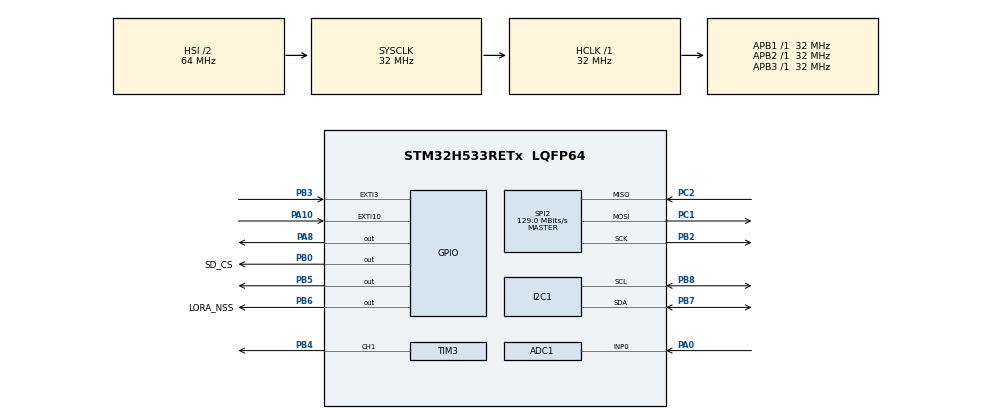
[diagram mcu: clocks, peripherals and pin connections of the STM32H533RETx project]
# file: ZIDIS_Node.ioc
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ADC1.Channel-0\#ChannelRegularConversion=ADC_CHANNEL_0
ADC1.Channel-1\#ChannelRegularConversion=ADC_CHANNEL_0
ADC1.MonitoredBy-0\#ChannelRegularConversion=__NULL
ADC1.MonitoredBy-1\#ChannelRegularConversion=__NULL
ADC1.NbrOfConversion=2
ADC1.NbrOfConversionFlag=1
ADC1.OffsetNumber-0\#ChannelRegularConversion=ADC_OFFSET_NONE
ADC1.OffsetNumber-1\#ChannelRegularConversion=ADC_OFFSET_NONE
ADC1.Rank-0\#ChannelRegularConversion=1
ADC1.Rank-1\#ChannelRegularConversion=2
ADC1.SamplingTime-0\#ChannelRegularConversion=ADC_SAMPLETIME_247CYCLES_5
ADC1.SamplingTime-1\#ChannelRegularConversion=ADC_SAMPLETIME_247CYCLES_5
ADC1.master=1
BOOTPATH.BootPathName=LEGACY
BOOTPATH.UserSelectedBootPath=LEGACY
CORTEX_M33_NS.Number-Cortex_Memory_Protection_Unit_Region0_OTP_RO_AREAS_Settings=MPU_REGION_NUMBER0
CORTEX_M33_NS.default_mode_Activation=1
CORTEX_M33_NS.userName=CORTEX_M33
I2C1.Timing=0x00707CBB
Mcu.Family=STM32H5
Mcu.Name=STM32H533RETx
Mcu.Package=LQFP64
NUCLEO-H533RE.BUTTON=1
NUCLEO-H533RE.Bsp_Common_DEMO=true
NUCLEO-H533RE.LD4=true
NUCLEO-H533RE.VCP=true
NVIC.EXTI10_IRQn=true\:0\:0\:false\:false\:true\:true\:true\:true
NVIC.EXTI3_IRQn=true\:0\:0\:false\:false\:true\:true\:true\:true
NVIC.PriorityGroup=NVIC_PRIORITYGROUP_4
NVIC.TIM6_IRQn=true\:15\:0\:false\:false\:true\:false\:true\:true
NVIC.TimeBase=TIM6_IRQn
NVIC.TimeBaseIP=TIM6
PA0.Signal=ADCx_INP0
PA1.Signal=ADCx_INP1
PA10.Signal=GPXTI10
PA13(JTMS/SWDIO).GPIO_Label=SWDIO
PA13(JTMS/SWDIO).Signal=DEBUG_JTMS-SWDIO
PA14(JTCK/SWCLK).GPIO_Label=SWCLK
PA14(JTCK/SWCLK).Signal=DEBUG_JTCK-SWCLK
PA15(JTDI).GPIO_Label=JTDI
PA15(JTDI).Signal=DEBUG_JTDI
PA2.Signal=USART2_TX
PA3.Signal=USART2_RX
PA8.Signal=GPIO_Output
PB0.GPIO_Label=SD_CS
PB0.Signal=GPIO_Output
PB2.Mode=Full_Duplex_Master
PB2.Signal=SPI2_SCK
PB3(JTDO/TRACESWO).Signal=GPXTI3
PB4(NJTRST).Signal=S_TIM3_CH1
PB5.Signal=GPIO_Output
PB6.GPIO_Label=LORA_NSS
PB6.Signal=GPIO_Output
PB7.Mode=I2C
PB7.Signal=I2C1_SDA
PB8.Mode=I2C
PB8.Signal=I2C1_SCL
PC1.Mode=Full_Duplex_Master
PC1.Signal=SPI2_MOSI
PC2.Mode=Full_Duplex_Master
PC2.Signal=SPI2_MISO
ProjectManager.HeapSize=0x200
ProjectManager.StackSize=0x400
ProjectManager.TargetToolchain=STM32CubeIDE
RCC.ADCFreq_Value=32000000
RCC.AHBFreq_Value=32000000
RCC.APB1Freq_Value=32000000
RCC.APB1TimFreq_Value=32000000
RCC.APB2Freq_Value=32000000
RCC.APB2TimFreq_Value=32000000
RCC.APB3Freq_Value=32000000
RCC.CSI_VALUE=4000000
RCC.CortexFreq_Value=32000000
RCC.EPOD_VALUE=4000000
RCC.HCLKFreq_Value=32000000
RCC.HSE_VALUE=25000000
RCC.HSI48_VALUE=48000000
RCC.HSI_VALUE=64000000
RCC.LSE_VALUE=32768
RCC.LSIRC_VALUE=32000
RCC.PLL2FRACN=0
RCC.PLL3FRACN=0
RCC.PLLFRACN=0
RCC.SYSCLKFreq_VALUE=32000000
RCC.USBFreq_Value=48000000
RCC.VCOOutputFreq_Value=516000000
SH.ADCx_INP0.0=ADC1_INP0,IN0-Single-Ended
SH.ADCx_INP1.0=ADC1_INP1
SH.S_TIM3_CH1.0=TIM3_CH1,PWM Generation1 CH1
SPI2.CalculateBaudRate=129.0 MBits/s
SPI2.Direction=SPI_DIRECTION_2LINES
SPI2.Mode=SPI_MODE_MASTER
SPI2.VirtualType=VM_MASTER
TIM3.Channel-PWM\ Generation1\ CH1=TIM_CHANNEL_1
TIM3.PeriodNoDither=999
TIM3.Prescaler=249
VP_BOOTPATH_VS_BOOTPATH.Mode=BP_Activate
VP_CORTEX_M33_NS_VS_Hclk.Mode=Hclk_Mode
VP_ICACHE_VS_ICACHE.Mode=DirectMappedCache
VP_MEMORYMAP_VS_MEMORYMAP.Mode=CurAppReg
VP_NUCLEO-H533RE_VS_BSP_COMMON.Mode=COMMON
VP_PWR_VS_LPOM.Mode=PowerOptimisation
VP_PWR_VS_SECSignals.Mode=Security/Privilege
VP_SYS_VS_tim6.Mode=TIM6
VP_TIM3_VS_ClockSourceINT.Mode=Internal
board=NUCLEO-H533RE

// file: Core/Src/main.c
/* USER CODE BEGIN Header */
/**
  ******************************************************************************
  * @file           : main.c
  * @brief          : Main program body
  ******************************************************************************
  * @attention
  *
  * Copyright (c) 2026 STMicroelectronics.
  * All rights reserved.
  *
  * This software is licensed under terms that can be found in the LICENSE file
  * in the root directory of this software component.
  * If no LICENSE file comes with this software, it is provided AS-IS.
  *
  ******************************************************************************
  */
/* USER CODE END Header */
#include "main.h"
#include <stdio.h> // Added for printf

/* USER CODE BEGIN Includes */
#include <tk/tkernel.h>
#include "zidis_core/config.h"
#include "zidis_core/dsp.h"
#include "zidis_core/mlp.h"
#include "zidis_core/protocol.h"
#include <stdlib.h>
#include <math.h>
#include <tm/tmonitor.h>
/* USER CODE END Includes */

COM_InitTypeDef BspCOMInit;
__IO uint32_t BspButtonState = BUTTON_RELEASED;
ADC_HandleTypeDef hadc1;

I2C_HandleTypeDef hi2c1;

SPI_HandleTypeDef hspi2;

TIM_HandleTypeDef htim3;

/* USER CODE BEGIN PV */
// Variables to store your sensor readings
uint32_t soil_moisture = 0;
uint32_t water_level = 0;
/* USER CODE END PV */

void SystemClock_Config(void);
static void MPU_Config(void);
static void MX_GPIO_Init(void);
static void MX_ADC1_Init(void);
static void MX_ICACHE_Init(void);
static void MX_TIM3_Init(void);
static void MX_I2C1_Init(void);
static void MX_SPI2_Init(void);
/* USER CODE BEGIN PFP */
void UART_Print(const char* str);
/* USER CODE END PFP */

int main(void)
{

  /* MCU Configuration--------------------------------------------------------*/

  /* MPU Configuration--------------------------------------------------------*/
  MPU_Config();

  /* Reset of all peripherals, Initializes the Flash interface and the Systick. */
  HAL_Init();

  /* Configure the system clock */
  SystemClock_Config();

  /* Initialize all configured peripherals */
  MX_GPIO_Init();
  MX_ADC1_Init();
  MX_ICACHE_Init();
  MX_TIM3_Init();
  MX_I2C1_Init();
  MX_SPI2_Init();

  /* USER CODE BEGIN 2 */

  // 1. Start the PWM Siren on TIM3 Channel 1
  HAL_TIM_PWM_Start(&htim3, TIM_CHANNEL_1);

  // 2. Set the Siren volume/duty cycle to 50% (500 out of 1000 period)
  // Note: Set this to 0 if you don't want the siren making noise while testing!
  __HAL_TIM_SET_COMPARE(&htim3, TIM_CHANNEL_1, 500);

  /* USER CODE END 2 */

  /* Initialize leds */
  BSP_LED_Init(LED_GREEN);

  /* Initialize USER push-button, will be used to trigger an interrupt each time it's pressed.*/
  BSP_PB_Init(BUTTON_USER, BUTTON_MODE_EXTI);

  /* Initialize COM1 port (115200, 8 bits (7-bit data + 1 stop bit), no parity */
  BspCOMInit.BaudRate   = 115200;
  BspCOMInit.WordLength = COM_WORDLENGTH_8B;
  BspCOMInit.StopBits   = COM_STOPBITS_1;
  BspCOMInit.Parity     = COM_PARITY_NONE;
  BspCOMInit.HwFlowCtl  = COM_HWCONTROL_NONE;
  if (BSP_COM_Init(COM1, &BspCOMInit) != BSP_ERROR_NONE)
  {
    Error_Handler();
  }

  /* USER CODE BEGIN BSP */

  /* -- Sample board code to send message over COM1 port ---- */
  UART_Print("\r\n=======================================\r\n");
  UART_Print(" ZIDIS Earthquake Node - System Booting \r\n");
  UART_Print("=======================================\r\n");

  /* -- Sample board code to switch on leds ---- */
  BSP_LED_Off(LED_GREEN);

  // --- BOOT uT-KERNEL ---
  extern void knl_start_mtkernel(void);
  knl_start_mtkernel(); // Jump into the RTOS (Never returns!)

  /* USER CODE END BSP */

  /* Infinite loop */
  while (1)
  {

  }
}

void SystemClock_Config(void)
{
  RCC_OscInitTypeDef RCC_OscInitStruct = {0};
  RCC_ClkInitTypeDef RCC_ClkInitStruct = {0};

  /** Configure the main internal regulator output voltage
  */
  __HAL_PWR_VOLTAGESCALING_CONFIG(PWR_REGULATOR_VOLTAGE_SCALE3);

  while(!__HAL_PWR_GET_FLAG(PWR_FLAG_VOSRDY)) {}

  /** Initializes the RCC Oscillators according to the specified parameters
  * in the RCC_OscInitTypeDef structure.
  */
  RCC_OscInitStruct.OscillatorType = RCC_OSCILLATORTYPE_HSI|RCC_OSCILLATORTYPE_CSI;
  RCC_OscInitStruct.HSIState = RCC_HSI_ON;
  RCC_OscInitStruct.HSIDiv = RCC_HSI_DIV2;
  RCC_OscInitStruct.HSICalibrationValue = RCC_HSICALIBRATION_DEFAULT;
  RCC_OscInitStruct.CSIState = RCC_CSI_ON;
  RCC_OscInitStruct.CSICalibrationValue = RCC_CSICALIBRATION_DEFAULT;
  RCC_OscInitStruct.PLL.PLLState = RCC_PLL_ON;
  RCC_OscInitStruct.PLL.PLLSource = RCC_PLL1_SOURCE_CSI;
  RCC_OscInitStruct.PLL.PLLM = 1;
  RCC_OscInitStruct.PLL.PLLN = 129;
  RCC_OscInitStruct.PLL.PLLP = 2;
  RCC_OscInitStruct.PLL.PLLQ = 2;
  RCC_OscInitStruct.PLL.PLLR = 2;
  RCC_OscInitStruct.PLL.PLLRGE = RCC_PLL1_VCIRANGE_2;
  RCC_OscInitStruct.PLL.PLLVCOSEL = RCC_PLL1_VCORANGE_WIDE;
  RCC_OscInitStruct.PLL.PLLFRACN = 0;
  if (HAL_RCC_OscConfig(&RCC_OscInitStruct) != HAL_OK)
  {
    Error_Handler();
  }

  /** Initializes the CPU, AHB and APB buses clocks
  */
  RCC_ClkInitStruct.ClockType = RCC_CLOCKTYPE_HCLK|RCC_CLOCKTYPE_SYSCLK
                              |RCC_CLOCKTYPE_PCLK1|RCC_CLOCKTYPE_PCLK2
                              |RCC_CLOCKTYPE_PCLK3;
  RCC_ClkInitStruct.SYSCLKSource = RCC_SYSCLKSOURCE_HSI;
  RCC_ClkInitStruct.AHBCLKDivider = RCC_SYSCLK_DIV1;
  RCC_ClkInitStruct.APB1CLKDivider = RCC_HCLK_DIV1;
  RCC_ClkInitStruct.APB2CLKDivider = RCC_HCLK_DIV1;
  RCC_ClkInitStruct.APB3CLKDivider = RCC_HCLK_DIV1;

  if (HAL_RCC_ClockConfig(&RCC_ClkInitStruct, FLASH_LATENCY_1) != HAL_OK)
  {
    Error_Handler();
  }

  /** Configure the programming delay
  */
  __HAL_FLASH_SET_PROGRAM_DELAY(FLASH_PROGRAMMING_DELAY_0);
}

static void MX_ADC1_Init(void)
{

  ADC_ChannelConfTypeDef sConfig = {0};

  /** Common config
  */
  hadc1.Instance = ADC1;
  hadc1.Init.ClockPrescaler = ADC_CLOCK_ASYNC_DIV1;
  hadc1.Init.Resolution = ADC_RESOLUTION_12B;
  hadc1.Init.DataAlign = ADC_DATAALIGN_RIGHT;
  hadc1.Init.ScanConvMode = ADC_SCAN_ENABLE;
  hadc1.Init.EOCSelection = ADC_EOC_SINGLE_CONV;
  hadc1.Init.LowPowerAutoWait = DISABLE;
  hadc1.Init.ContinuousConvMode = DISABLE;
  hadc1.Init.NbrOfConversion = 2;
  hadc1.Init.DiscontinuousConvMode = DISABLE;
  hadc1.Init.ExternalTrigConv = ADC_SOFTWARE_START;
  hadc1.Init.ExternalTrigConvEdge = ADC_EXTERNALTRIGCONVEDGE_NONE;
  hadc1.Init.DMAContinuousRequests = DISABLE;
  hadc1.Init.SamplingMode = ADC_SAMPLING_MODE_NORMAL;
  hadc1.Init.Overrun = ADC_OVR_DATA_PRESERVED;
  hadc1.Init.OversamplingMode = DISABLE;
  if (HAL_ADC_Init(&hadc1) != HAL_OK)
  {
    Error_Handler();
  }

  /** Configure Regular Channel
  */
  sConfig.Channel = ADC_CHANNEL_0;
  sConfig.Rank = ADC_REGULAR_RANK_1;
  sConfig.SamplingTime = ADC_SAMPLETIME_247CYCLES_5;
  sConfig.SingleDiff = ADC_SINGLE_ENDED;
  sConfig.OffsetNumber = ADC_OFFSET_NONE;
  sConfig.Offset = 0;
  if (HAL_ADC_ConfigChannel(&hadc1, &sConfig) != HAL_OK)
  {
    Error_Handler();
  }

  /** Configure Regular Channel
  */
  sConfig.Rank = ADC_REGULAR_RANK_2;
  if (HAL_ADC_ConfigChannel(&hadc1, &sConfig) != HAL_OK)
  {
    Error_Handler();
  }

}

static void MX_I2C1_Init(void)
{

  hi2c1.Instance = I2C1;
  hi2c1.Init.Timing = 0x00707CBB;
  hi2c1.Init.OwnAddress1 = 0;
  hi2c1.Init.AddressingMode = I2C_ADDRESSINGMODE_7BIT;
  hi2c1.Init.DualAddressMode = I2C_DUALADDRESS_DISABLE;
  hi2c1.Init.OwnAddress2 = 0;
  hi2c1.Init.OwnAddress2Masks = I2C_OA2_NOMASK;
  hi2c1.Init.GeneralCallMode = I2C_GENERALCALL_DISABLE;
  hi2c1.Init.NoStretchMode = I2C_NOSTRETCH_DISABLE;
  if (HAL_I2C_Init(&hi2c1) != HAL_OK)
  {
    Error_Handler();
  }

  /** Configure Analogue filter
  */
  if (HAL_I2CEx_ConfigAnalogFilter(&hi2c1, I2C_ANALOGFILTER_ENABLE) != HAL_OK)
  {
    Error_Handler();
  }

  /** Configure Digital filter
  */
  if (HAL_I2CEx_ConfigDigitalFilter(&hi2c1, 0) != HAL_OK)
  {
    Error_Handler();
  }

}

static void MX_ICACHE_Init(void)
{

  /** Enable instruction cache in 1-way (direct mapped cache)
  */
  if (HAL_ICACHE_ConfigAssociativityMode(ICACHE_1WAY) != HAL_OK)
  {
    Error_Handler();
  }
  if (HAL_ICACHE_Enable() != HAL_OK)
  {
    Error_Handler();
  }

}

static void MX_SPI2_Init(void)
{

  /* SPI2 parameter configuration*/
  hspi2.Instance = SPI2;
  hspi2.Init.Mode = SPI_MODE_MASTER;
  hspi2.Init.Direction = SPI_DIRECTION_2LINES;
  hspi2.Init.DataSize = SPI_DATASIZE_4BIT;
  hspi2.Init.CLKPolarity = SPI_POLARITY_LOW;
  hspi2.Init.CLKPhase = SPI_PHASE_1EDGE;
  hspi2.Init.NSS = SPI_NSS_SOFT;
  hspi2.Init.BaudRatePrescaler = SPI_BAUDRATEPRESCALER_2;
  hspi2.Init.FirstBit = SPI_FIRSTBIT_MSB;
  hspi2.Init.TIMode = SPI_TIMODE_DISABLE;
  hspi2.Init.CRCCalculation = SPI_CRCCALCULATION_DISABLE;
  hspi2.Init.CRCPolynomial = 0x7;
  hspi2.Init.NSSPMode = SPI_NSS_PULSE_ENABLE;
  hspi2.Init.NSSPolarity = SPI_NSS_POLARITY_LOW;
  hspi2.Init.FifoThreshold = SPI_FIFO_THRESHOLD_01DATA;
  hspi2.Init.MasterSSIdleness = SPI_MASTER_SS_IDLENESS_00CYCLE;
  hspi2.Init.MasterInterDataIdleness = SPI_MASTER_INTERDATA_IDLENESS_00CYCLE;
  hspi2.Init.MasterReceiverAutoSusp = SPI_MASTER_RX_AUTOSUSP_DISABLE;
  hspi2.Init.MasterKeepIOState = SPI_MASTER_KEEP_IO_STATE_DISABLE;
  hspi2.Init.IOSwap = SPI_IO_SWAP_DISABLE;
  hspi2.Init.ReadyMasterManagement = SPI_RDY_MASTER_MANAGEMENT_INTERNALLY;
  hspi2.Init.ReadyPolarity = SPI_RDY_POLARITY_HIGH;
  if (HAL_SPI_Init(&hspi2) != HAL_OK)
  {
    Error_Handler();
  }

}

static void MX_TIM3_Init(void)
{

  TIM_ClockConfigTypeDef sClockSourceConfig = {0};
  TIM_MasterConfigTypeDef sMasterConfig = {0};
  TIM_OC_InitTypeDef sConfigOC = {0};

  htim3.Instance = TIM3;
  htim3.Init.Prescaler = 249;
  htim3.Init.CounterMode = TIM_COUNTERMODE_UP;
  htim3.Init.Period = 999;
  htim3.Init.ClockDivision = TIM_CLOCKDIVISION_DIV1;
  htim3.Init.AutoReloadPreload = TIM_AUTORELOAD_PRELOAD_DISABLE;
  if (HAL_TIM_Base_Init(&htim3) != HAL_OK)
  {
    Error_Handler();
  }
  sClockSourceConfig.ClockSource = TIM_CLOCKSOURCE_INTERNAL;
  if (HAL_TIM_ConfigClockSource(&htim3, &sClockSourceConfig) != HAL_OK)
  {
    Error_Handler();
  }
  if (HAL_TIM_PWM_Init(&htim3) != HAL_OK)
  {
    Error_Handler();
  }
  sMasterConfig.MasterOutputTrigger = TIM_TRGO_RESET;
  sMasterConfig.MasterSlaveMode = TIM_MASTERSLAVEMODE_DISABLE;
  if (HAL_TIMEx_MasterConfigSynchronization(&htim3, &sMasterConfig) != HAL_OK)
  {
    Error_Handler();
  }
  sConfigOC.OCMode = TIM_OCMODE_PWM1;
  sConfigOC.Pulse = 0;
  sConfigOC.OCPolarity = TIM_OCPOLARITY_HIGH;
  sConfigOC.OCFastMode = TIM_OCFAST_DISABLE;
  if (HAL_TIM_PWM_ConfigChannel(&htim3, &sConfigOC, TIM_CHANNEL_1) != HAL_OK)
  {
    Error_Handler();
  }
  HAL_TIM_MspPostInit(&htim3);

}

static void MX_GPIO_Init(void)
{
  GPIO_InitTypeDef GPIO_InitStruct = {0};

  /* GPIO Ports Clock Enable */
  __HAL_RCC_GPIOC_CLK_ENABLE();
  __HAL_RCC_GPIOA_CLK_ENABLE();
  __HAL_RCC_GPIOB_CLK_ENABLE();

  /*Configure GPIO pin Output Level */
  HAL_GPIO_WritePin(GPIOB, SD_CS_Pin|GPIO_PIN_5|LORA_NSS_Pin, GPIO_PIN_RESET);

  /*Configure GPIO pin Output Level */
  HAL_GPIO_WritePin(GPIOA, GPIO_PIN_8, GPIO_PIN_RESET);

  /*Configure GPIO pins : SD_CS_Pin PB5 LORA_NSS_Pin */
  GPIO_InitStruct.Pin = SD_CS_Pin|GPIO_PIN_5|LORA_NSS_Pin;
  GPIO_InitStruct.Mode = GPIO_MODE_OUTPUT_PP;
  GPIO_InitStruct.Pull = GPIO_NOPULL;
  GPIO_InitStruct.Speed = GPIO_SPEED_FREQ_LOW;
  HAL_GPIO_Init(GPIOB, &GPIO_InitStruct);

  /*Configure GPIO pin : PA8 */
  GPIO_InitStruct.Pin = GPIO_PIN_8;
  GPIO_InitStruct.Mode = GPIO_MODE_OUTPUT_PP;
  GPIO_InitStruct.Pull = GPIO_NOPULL;
  GPIO_InitStruct.Speed = GPIO_SPEED_FREQ_LOW;
  HAL_GPIO_Init(GPIOA, &GPIO_InitStruct);

  /*Configure GPIO pin : PA10 */
  GPIO_InitStruct.Pin = GPIO_PIN_10;
  GPIO_InitStruct.Mode = GPIO_MODE_IT_RISING;
  GPIO_InitStruct.Pull = GPIO_NOPULL;
  HAL_GPIO_Init(GPIOA, &GPIO_InitStruct);

  /*Configure GPIO pin : PB3 */
  GPIO_InitStruct.Pin = GPIO_PIN_3;
  GPIO_InitStruct.Mode = GPIO_MODE_IT_RISING;
  GPIO_InitStruct.Pull = GPIO_NOPULL;
  HAL_GPIO_Init(GPIOB, &GPIO_InitStruct);

  /* EXTI interrupt init*/
  HAL_NVIC_SetPriority(EXTI3_IRQn, 0, 0);
  HAL_NVIC_EnableIRQ(EXTI3_IRQn);

  HAL_NVIC_SetPriority(EXTI10_IRQn, 0, 0);
  HAL_NVIC_EnableIRQ(EXTI10_IRQn);

}

/* MPU Configuration */

void MPU_Config(void)
{
  MPU_Region_InitTypeDef MPU_InitStruct = {0};
  MPU_Attributes_InitTypeDef MPU_AttributesInit = {0};

  /* Disables the MPU */
  HAL_MPU_Disable();

  /** Initializes and configures the Region 0 and the memory to be protected
  */
  MPU_InitStruct.Enable = MPU_REGION_ENABLE;
  MPU_InitStruct.Number = MPU_REGION_NUMBER0;
  MPU_InitStruct.BaseAddress = 0x08FFF000;
  MPU_InitStruct.LimitAddress = 0x08FFFFFF;
  MPU_InitStruct.AttributesIndex = MPU_ATTRIBUTES_NUMBER0;
  MPU_InitStruct.AccessPermission = MPU_REGION_ALL_RO;
  MPU_InitStruct.DisableExec = MPU_INSTRUCTION_ACCESS_DISABLE;
  MPU_InitStruct.IsShareable = MPU_ACCESS_NOT_SHAREABLE;

  HAL_MPU_ConfigRegion(&MPU_InitStruct);

  /** Initializes and configures the Attribute 0 and the memory to be protected
  */
  MPU_AttributesInit.Number = MPU_ATTRIBUTES_NUMBER0;
  MPU_AttributesInit.Attributes = INNER_OUTER(MPU_NOT_CACHEABLE);

  HAL_MPU_ConfigMemoryAttributes(&MPU_AttributesInit);
  /* Enables the MPU */
  HAL_MPU_Enable(MPU_PRIVILEGED_DEFAULT);

}

void HAL_TIM_PeriodElapsedCallback(TIM_HandleTypeDef *htim)
{
  if (htim->Instance == TIM6)
  {
    HAL_IncTick();
  }
}

/**
  * @brief  BSP Push Button callback
  * @param  Button Specifies the pressed button
  * @retval None
  */
void BSP_PB_Callback(Button_TypeDef Button)
{
  if (Button == BUTTON_USER)
  {
    BspButtonState = BUTTON_PRESSED;
  }
}

void Error_Handler(void)
{
  __disable_irq();
  while (1)
  {
  }
}

/* USER CODE BEGIN 4 */

/* ========================================================================= */
/*                          RTOS OBJECT DEFINITIONS                          */
/* ========================================================================= */
ID flg_detect;     // Event flag to wake up T_DETECT
ID mbf_claim;      // Message buffer for internal claims
ID tsk_sense;
ID tsk_detect;
ID tsk_consensus;
ID tsk_net;
ID tsk_diag;

// Cyclic handler ID
ID cyc_sense;

// Global State
DspState_t g_dsp_state;
ProtocolState_t g_proto_state;

// Helper to get time in ms
static uint32_t get_system_time_ms(void) {
    SYSTIM sys_time;
    tk_get_otm(&sys_time);
    return sys_time.lo;
}

// Mock Sensor Data Generation - Realistic P-Wave Simulation
// P-Waves (Primary waves) are compressional, high-frequency (5-15Hz),
// moderate-amplitude waves that arrive first before the damaging S-wave.
static uint32_t pwave_start_time = 0;

static float get_mock_sensor_data(void) {
    // Background micro-seismic noise floor (~0.01-0.05g RMS)
    float noise = ((float)(rand() % 200) - 100.0f) / 1000.0f; // ±0.1g noise

    if (BspButtonState == BUTTON_PRESSED) {
        uint32_t now = get_system_time_ms();

        // Record when the P-wave event started
        if (pwave_start_time == 0) {
            pwave_start_time = now;
        }

        uint32_t elapsed = now - pwave_start_time;
        float t = (float)elapsed / 1000.0f; // Time in seconds

        // ---- P-Wave Model ----
        // Real P-waves have:
        //   - Sudden onset (exponential ramp-up over ~0.1s)
        //   - Dominant frequency 5-15 Hz
        //   - Moderate amplitude (~0.5-2.0g for a significant quake)
        //   - Multiple frequency components
        //   - Gradual decay envelope

        // Exponential onset envelope (ramps up over ~100ms)
        float onset = 1.0f - expf(-t * 15.0f);

        // Decay envelope (P-wave energy decays over ~2s)
        float decay = expf(-t * 0.5f);

        // Combined envelope
        float envelope = onset * decay;

        // P-wave is a superposition of multiple frequency components:
        //   - Primary:   8 Hz  (strongest P-wave component)
        //   - Secondary: 12 Hz (higher harmonic)
        //   - Tertiary:  5 Hz  (low-frequency body wave)
        float f1 = sinf(2.0f * 3.14159f * 8.0f * t);   // 8 Hz primary
        float f2 = sinf(2.0f * 3.14159f * 12.0f * t);   // 12 Hz harmonic
        float f3 = sinf(2.0f * 3.14159f * 5.0f * t);    // 5 Hz body wave

        // Weighted sum: primary strongest, harmonic weaker, body wave weakest
        float pwave = (0.6f * f1) + (0.25f * f2) + (0.15f * f3);

        // Scale by envelope and peak amplitude (~1.5g)
        float amplitude = 1.5f;
        noise += amplitude * envelope * pwave;
    } else {
        // Reset P-wave start time when button is released
        pwave_start_time = 0;
    }

    return noise;
}

/* ========================================================================= */
/*                            uT-KERNEL TASKS                                */
/* ========================================================================= */

extern UART_HandleTypeDef hcom_uart[];
void knl_hardfault_handler(void) {
    char* msg = "\r\n*** HARD FAULT ***\r\n";
    int len = 0; while(msg[len]) len++;
    HAL_UART_Transmit(&hcom_uart[0], (uint8_t*)msg, len, 1000);
    while(1);
}

// Custom UART Print to bypass Newlib printf completely
extern UART_HandleTypeDef hcom_uart[];
void UART_Print(const char* str) {
    int len = 0;
    while(str[len]) len++;
    HAL_UART_Transmit(&hcom_uart[0], (uint8_t*)str, len, 1000);
}

// Send a sample value over UART for live plotting
// Format: "D:<integer>\r\n" where integer = sample * 1000
// This avoids printf/snprintf entirely.
static void UART_PrintSample(float sample) {
    char buf[16];
    int idx = 0;
    buf[idx++] = 'D';
    buf[idx++] = ':';

    // Convert float to integer (scale by 1000 for 3 decimal places)
    int val = (int)(sample * 1000.0f);

    // Handle negative
    if (val < 0) {
        buf[idx++] = '-';
        val = -val;
    }

    // Convert integer to string (reverse then flip)
    if (val == 0) {
        buf[idx++] = '0';
    } else {
        char digits[8];
        int d = 0;
        while (val > 0 && d < 7) {
            digits[d++] = '0' + (val % 10);
            val /= 10;
        }
        // Reverse
        for (int i = d - 1; i >= 0; i--) {
            buf[idx++] = digits[i];
        }
    }
    buf[idx++] = '\r';
    buf[idx++] = '\n';

    HAL_UART_Transmit(&hcom_uart[0], (uint8_t*)buf, idx, 100);
}

// --- 10ms Cyclic Handler ---
void SenseCyclicHandler(void *exinf) {
    // Wake up T_SENSE
    tk_set_flg(flg_detect, 0x02);
}

// --- T_SENSE Task (Priority 10 - Medium) ---
void Task_Sense(INT stacd, void *exinf) {
    UART_Print("[T_SENSE] Task Started.\r\n");
    UINT flgptn;

    while(1) {
        // Wait for 10ms cyclic handler signal
        tk_wai_flg(flg_detect, 0x02, TWF_ANDW | TWF_CLR, &flgptn, TMO_FEVR);

        float sample = get_mock_sensor_data();

        // Stream sample over UART for live plotting (format: "D:<value>\r\n")
        UART_PrintSample(sample);

        // Process sample through STA/LTA detection
        if (Dsp_ProcessSample(&g_dsp_state, sample)) {
            // Window is full! Wake up T_DETECT
            UART_Print("[T_SENSE] Window full -> waking T_DETECT\r\n");
            tk_set_flg(flg_detect, 0x01);
        }
    }
}

// --- T_DETECT Task (Priority 5) ---
void Task_Detect(INT stacd, void *exinf) {
    UART_Print("[T_DETECT] Task Started.\r\n");
    UINT flgptn;
    ZidisFeatures_t features;

    while(1) {
        // Wait for T_SENSE to signal window is full
        tk_wai_flg(flg_detect, 0x01, TWF_ANDW | TWF_CLR, &flgptn, TMO_FEVR);

        UART_Print("[T_DETECT] Triggered! Extracting features...\r\n");

        Dsp_ExtractFeatures(&g_dsp_state, &features);

        float confidence;
        EventClass_t evt = Mlp_Classify(&features, &confidence);

        if (evt == EVENT_EARTHQUAKE) {
            UART_Print("[T_DETECT] Earthquake Event Detected!\r\n");
            ClaimPacket_t claim;
            claim.source_node = ZIDIS_NODE_ID_SELF;
            claim.sequence_num = get_system_time_ms();
            claim.timestamp_ms = get_system_time_ms();
            claim.event_class = evt;
            claim.confidence = confidence;

            // Send to consensus task (and to T_NET to broadcast)
            tk_snd_mbf(mbf_claim, &claim, sizeof(ClaimPacket_t), TMO_FEVR);
        }

        // Reset window state in DSP
        g_dsp_state.window_full = false;
        g_dsp_state.window_idx = 0;
    }
}

// --- T_CONSENSUS Task (Priority 7) ---
void Task_Consensus(INT stacd, void *exinf) {
    UART_Print("[T_CONSENSUS] Task Started.\r\n");
    ClaimPacket_t claim;
    AlertLevel_t last_alert = ALERT_NONE;

    while(1) {
        // We can wait with timeout to run periodic ticks
        if (tk_rcv_mbf(mbf_claim, &claim, 100) >= 0) {
            // Received a claim (from local T_DETECT or remote T_NET)
            Protocol_OnClaimRx(&g_proto_state, &claim);
        }

        // Tick protocol
        Protocol_Tick(&g_proto_state, get_system_time_ms());

        // Evaluate Quorum
        AlertLevel_t new_alert = Protocol_EvaluateQuorum(&g_proto_state);

        if (new_alert != last_alert) {
             if (new_alert >= ALERT_L1_LOCAL) {
                 if (new_alert >= ALERT_L2_CORROBORATED) {
                     UART_Print("[T_CONSENSUS] *** ALERT: CORROBORATED ***\r\n");
                     __HAL_TIM_SET_COMPARE(&htim3, TIM_CHANNEL_1, 500); // Siren ON
                     BSP_LED_On(LED_GREEN);
                 } else {
                     UART_Print("[T_CONSENSUS] *** ALERT: LOCAL ***\r\n");
                     BSP_LED_Toggle(LED_GREEN);
                 }
             } else {
                 UART_Print("[T_CONSENSUS] *** ALERT: NONE / CLEAR ***\r\n");
                 __HAL_TIM_SET_COMPARE(&htim3, TIM_CHANNEL_1, 0); // Siren OFF
                 BSP_LED_Off(LED_GREEN);
             }
             last_alert = new_alert;
        }

        // Clear user button state if it was pressed for a sufficient time
        if (BspButtonState == BUTTON_PRESSED) {
            static uint32_t press_start = 0;
            if (press_start == 0) press_start = get_system_time_ms();
            if (get_system_time_ms() - press_start > 1500) {
                BspButtonState = BUTTON_RELEASED;
                press_start = 0;
            }
        }
    }
}

// --- T_NET Task (Priority 3) ---
void Task_Net(INT stacd, void *exinf) {
    UART_Print("[T_NET] Task Started.\r\n");
    uint32_t last_beacon = 0;

    while(1) {
        uint32_t now = get_system_time_ms();

        // Send Beacon every 1000ms
        if (now - last_beacon >= 1000) {
            BeaconPacket_t bcn;
            bcn.source_node = ZIDIS_NODE_ID_SELF;
            bcn.sequence_num = now;
            bcn.timestamp_ms = now;

            // Mock network: just feed it back to protocol as if it's alive
            Protocol_OnBeaconRx(&g_proto_state, &bcn);

            // Also pretend node 2 sent a beacon
            BeaconPacket_t bcn2;
            bcn2.source_node = 2;
            bcn2.sequence_num = now;
            bcn2.timestamp_ms = now;
            Protocol_OnBeaconRx(&g_proto_state, &bcn2);

            last_beacon = now;
        }

        // If we want to test Quorum, we could mock a claim from node 2 when user button is pressed
        if (BspButtonState == BUTTON_PRESSED) {
             ClaimPacket_t claim2;
             claim2.source_node = 2;
             claim2.sequence_num = now;
             claim2.timestamp_ms = now;
             claim2.event_class = EVENT_EARTHQUAKE;
             claim2.confidence = 0.9f;
             tk_snd_mbf(mbf_claim, &claim2, sizeof(ClaimPacket_t), TMO_FEVR);
             tk_dly_tsk(100);
        }

        tk_dly_tsk(100);
    }
}

// --- T_DIAG Task (Priority 15) ---
void Task_Diag(INT stacd, void *exinf) {
    UART_Print("[T_DIAG] Task Started.\r\n");
    int count = 0;
    while(1) {
        tk_dly_tsk(3000); // 3 seconds
        count++;
        if (count == 1) UART_Print("[T_DIAG] tick 1\r\n");
        if (count == 2) UART_Print("[T_DIAG] tick 2\r\n");
        if (count == 3) UART_Print("[T_DIAG] tick 3\r\n");
        if (count > 3)  UART_Print("[T_DIAG] tick N\r\n");
    }
}

// --- USERMAIN (Initial Thread Entry Point) ---
EXPORT INT usermain(void) {
    // Debug: If we reach here, turn on the LED and spin forever.
    // If the LED turns on but nothing prints, we know printf is crashing it.
    BSP_LED_On(LED_GREEN);

    // Direct HAL output test
    extern UART_HandleTypeDef hcom_uart[];
    char test_msg[] = "\r\n[DIRECT HAL] usermain is alive!\r\n";
    HAL_UART_Transmit(&hcom_uart[0], (uint8_t*)test_msg, sizeof(test_msg)-1, 1000);

    UART_Print("\r\n--- ZIDIS Earthquake Early Warning System Booting ---\r\n");

    // Initialize Subsystems
    Dsp_Init(&g_dsp_state);
    // Pre-seed the LTA so the STA/LTA ratio starts at ~1.0 instead of 0/0
    g_dsp_state.lta = 0.25f;  // Expected average noise level
    g_dsp_state.sta = 0.25f;
    Mlp_Init();
    Protocol_Init(&g_proto_state);

    // Create Event Flags
    T_CFLG cflg = {0};
    cflg.flgatr = TA_TFIFO | TA_WMUL;
    flg_detect = tk_cre_flg(&cflg);

    // Create Message Buffers
    T_CMBF cmbf = {0};
    cmbf.mbfatr = TA_TFIFO;
    cmbf.bufsz = sizeof(ClaimPacket_t) * 10;
    cmbf.maxmsz = sizeof(ClaimPacket_t);
    mbf_claim = tk_cre_mbf(&cmbf);

    // Create Tasks
    T_CTSK ctsk = {0};
    ctsk.tskatr = TA_HLNG;
    ctsk.stksz = 2048;

    ctsk.task = Task_Sense;
    ctsk.itskpri = 10;
    tsk_sense = tk_cre_tsk(&ctsk);

    ctsk.task = Task_Detect;
    ctsk.itskpri = 5;
    tsk_detect = tk_cre_tsk(&ctsk);

    ctsk.task = Task_Consensus;
    ctsk.itskpri = 7;
    tsk_consensus = tk_cre_tsk(&ctsk);

    ctsk.task = Task_Net;
    ctsk.itskpri = 3;
    tsk_net = tk_cre_tsk(&ctsk);

    ctsk.task = Task_Diag;
    ctsk.itskpri = 15;
    tsk_diag = tk_cre_tsk(&ctsk);

    // Create Cyclic Handler
    T_CCYC ccyc = {0};
    ccyc.cycatr = TA_HLNG;

    ccyc.cychdr = SenseCyclicHandler;
    ccyc.cyctim = 10; // 10ms = 100Hz
    ccyc.cycphs = 10;
    cyc_sense = tk_cre_cyc(&ccyc);

    // Start everything
    tk_sta_tsk(tsk_sense, 0);
    tk_sta_tsk(tsk_detect, 0);
    tk_sta_tsk(tsk_consensus, 0);
    tk_sta_tsk(tsk_net, 0);
    tk_sta_tsk(tsk_diag, 0);

    tk_sta_cyc(cyc_sense);

    // Sleep forever so the RTOS scheduler can run the other tasks!
    // If usermain returns, T-Kernel triggers a full system shutdown.
    tk_slp_tsk(TMO_FEVR);

    return 0;
}

/* ========================================================================= */
/*              BOARD-SPECIFIC HARDWARE INIT/SHUTDOWN STUBS                  */
/* ========================================================================= */

EXPORT ER knl_init_device( void ) { return E_OK; }
EXPORT ER knl_start_device( void ) { return E_OK; }
EXPORT ER knl_finish_device( void ) { return E_OK; }
EXPORT void knl_shutdown_hw( void ) { while(1); }
EXPORT void knl_restart_hw( void ) { while(1); }
EXPORT void low_pow( void ) {
    __asm("nop");
}

/* Provide missing symbols required by uT-Kernel's sys_start.c */
EXPORT void knl_startup_hw(void) {
    // STM32 HAL already initialized hardware in main()
}

/* USER CODE END 4 */
